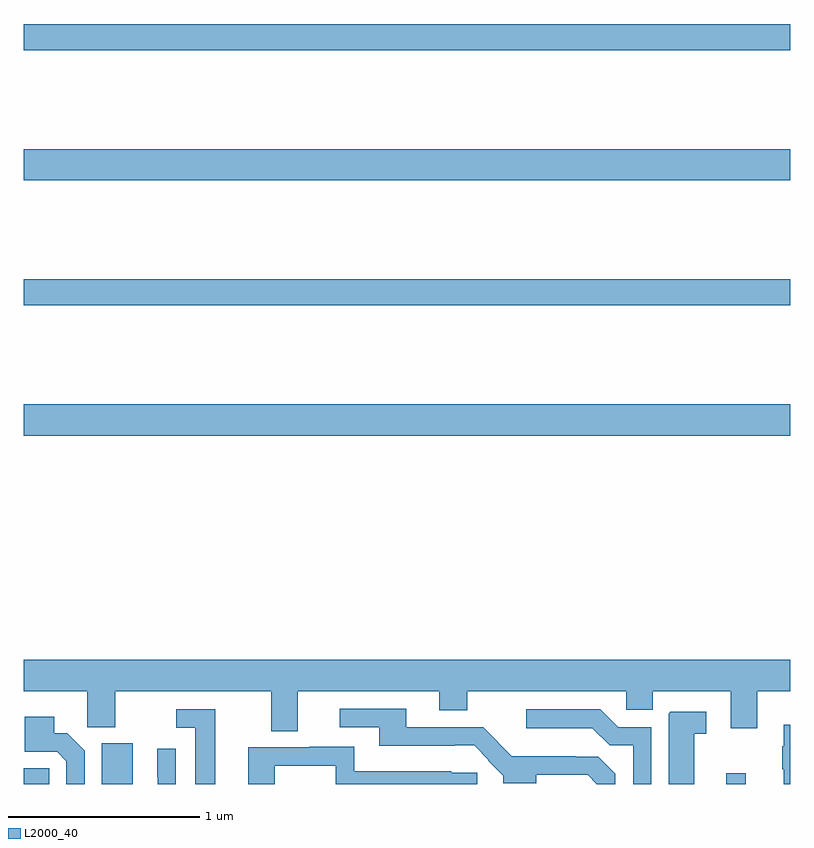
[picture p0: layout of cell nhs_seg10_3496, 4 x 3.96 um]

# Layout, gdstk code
import gdstk
lib = gdstk.Library(unit=1e-6, precision=1e-09)
def R(c, l, rs):  # rectangles x0, y0, x1, y1
    for r in rs: c.add(gdstk.rectangle(r[:2], r[2:], *l))
def P(c, l, *ps):  # polygons
    for p in ps: c.add(gdstk.Polygon(p, *l))
L2000_40 = (2000, 40)

nhs_seg10_3496 = lib.new_cell('nhs_seg10_3496')
R(nhs_seg10_3496, L2000_40, [(301,1298.5,301.134,1298.582), (301.409,1298.5,301.57,1298.712), (304.664,1298.5,304.768,1298.557), (301,1300.316,305,1300.48), (301,1300.996,305,1301.132), (301,1301.648,305,1301.812), (301,1302.328,305,1302.464)])
P(nhs_seg10_3496, L2000_40, [(302.431,1298.984),(303.167,1298.984),(303.167,1298.885),(303.315,1298.885),(303.315,1298.984),(304.143,1298.984),(304.143,1298.886),(304.282,1298.886),(304.282,1298.984),(304.688,1298.984),(304.688,1298.79),(304.828,1298.79),(304.828,1298.984),(305,1298.984),(305,1299.148),(301,1299.148),(301,1298.984),(301.332,1298.984),(301.332,1298.797),(301.479,1298.797),(301.479,1298.984),(302.291,1298.984),(302.291,1298.776),(302.431,1298.776)],
  [(304.086,1298.553),(303.997,1298.642),(303.881,1298.642),(303.881,1298.644),(303.547,1298.644),(303.473,1298.717),(303.475,1298.719),(303.399,1298.796),(302.995,1298.796),(302.995,1298.892),(302.649,1298.892),(302.649,1298.796),(302.855,1298.796),(302.855,1298.699),(303.248,1298.699),(303.248,1298.702),(303.35,1298.702),(303.426,1298.625),(303.423,1298.622),(303.502,1298.544),(303.502,1298.504),(303.673,1298.504),(303.673,1298.547),(303.942,1298.547),(303.989,1298.5),(304.086,1298.5)],
  [(304.275,1298.796),(304.101,1298.796),(304.008,1298.889),(303.621,1298.889),(303.621,1298.792),(303.967,1298.792),(304.058,1298.701),(304.179,1298.701),(304.179,1298.5),(304.275,1298.5)],
  [(301.999,1298.889),(301.797,1298.889),(301.797,1298.793),(301.895,1298.793),(301.895,1298.5),(301.999,1298.5)],
  [(304.498,1298.761),(304.561,1298.761),(304.561,1298.877),(304.374,1298.877),(304.364,1298.867),(304.364,1298.5),(304.498,1298.5)],
  [(301.32,1298.673),(301.227,1298.766),(301.159,1298.766),(301.159,1298.851),(301.007,1298.851),(301.007,1298.667),(301.176,1298.667),(301.224,1298.619),(301.224,1298.5),(301.32,1298.5)],
  [(305,1298.809),(304.964,1298.809),(304.964,1298.696),(304.957,1298.696),(304.957,1298.577),(304.964,1298.577),(304.964,1298.5),(305,1298.5)],
  [(302.31,1298.595),(302.628,1298.595),(302.628,1298.5),(303.366,1298.5),(303.366,1298.559),(303.231,1298.559),(303.231,1298.566),(302.725,1298.566),(302.725,1298.695),(302.489,1298.695),(302.489,1298.691),(302.171,1298.691),(302.171,1298.5),(302.31,1298.5)],
  [(301.794,1298.683),(301.698,1298.683),(301.698,1298.536),(301.7,1298.536),(301.7,1298.5),(301.794,1298.5)])

lib.write_gds('nhs_seg10_3496.gds')
